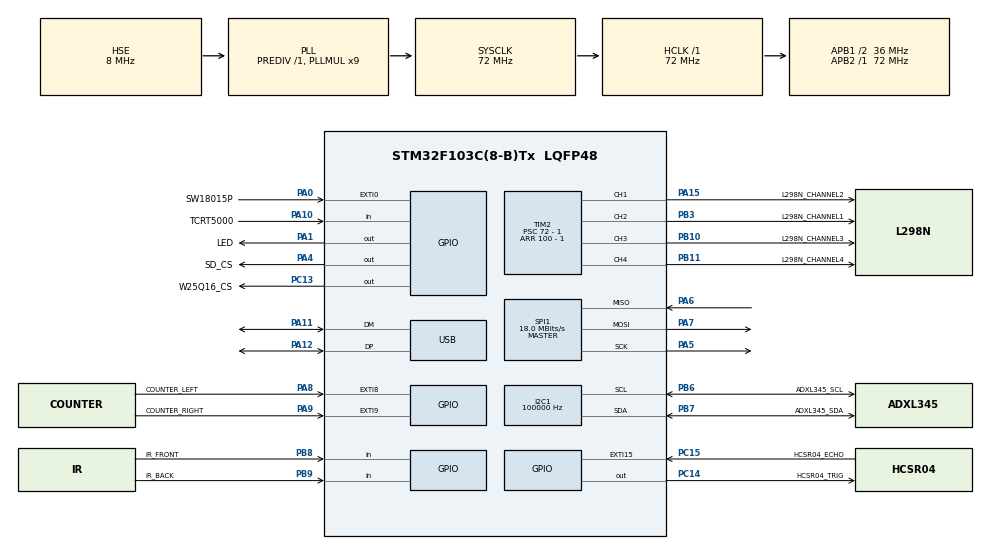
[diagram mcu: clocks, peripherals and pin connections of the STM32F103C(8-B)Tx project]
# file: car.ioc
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I2C1.ClockSpeed=100000
Mcu.Family=STM32F1
Mcu.Name=STM32F103C(8-B)Tx
Mcu.Package=LQFP48
NVIC.EXTI15_10_IRQn=true\:0\:0\:false\:false\:true\:true\:true
NVIC.EXTI9_5_IRQn=true\:0\:0\:false\:false\:true\:true\:true
NVIC.PriorityGroup=NVIC_PRIORITYGROUP_4
NVIC.USB_LP_CAN1_RX0_IRQn=true\:0\:0\:false\:false\:true\:false\:true
PA0-WKUP.GPIO_Label=SW18015P
PA0-WKUP.GPIO_ModeDefaultEXTI=GPIO_MODE_IT_FALLING
PA0-WKUP.GPIO_PuPd=GPIO_PULLUP
PA0-WKUP.Signal=GPXTI0
PA1.GPIO_Label=LED
PA1.Signal=GPIO_Output
PA10.GPIO_Label=TCRT5000
PA10.GPIO_PuPd=GPIO_PULLUP
PA10.Signal=GPIO_Input
PA11.Mode=Device
PA11.Signal=USB_DM
PA12.Mode=Device
PA12.Signal=USB_DP
PA13.Mode=Serial_Wire
PA13.Signal=SYS_JTMS-SWDIO
PA14.Mode=Serial_Wire
PA14.Signal=SYS_JTCK-SWCLK
PA15.GPIO_Label=L298N_CHANNEL2
PA15.Signal=S_TIM2_CH1_ETR
PA4.GPIO_Label=SD_CS
PA4.PinState=GPIO_PIN_SET
PA4.Signal=GPIO_Output
PA5.Mode=Full_Duplex_Master
PA5.Signal=SPI1_SCK
PA6.Mode=Full_Duplex_Master
PA6.Signal=SPI1_MISO
PA7.Mode=Full_Duplex_Master
PA7.Signal=SPI1_MOSI
PA8.GPIO_Label=COUNTER_LEFT
PA8.GPIO_ModeDefaultEXTI=GPIO_MODE_IT_RISING
PA8.GPIO_PuPd=GPIO_PULLDOWN
PA8.Signal=GPXTI8
PA9.GPIO_Label=COUNTER_RIGHT
PA9.GPIO_PuPd=GPIO_PULLDOWN
PA9.Signal=GPXTI9
PB10.GPIO_Label=L298N_CHANNEL3
PB10.Signal=S_TIM2_CH3
PB11.GPIO_Label=L298N_CHANNEL4
PB11.Signal=S_TIM2_CH4
PB3.GPIO_Label=L298N_CHANNEL1
PB3.Signal=S_TIM2_CH2
PB6.GPIO_Label=ADXL345_SCL
PB6.GPIO_Pu=GPIO_PULLUP
PB6.Mode=I2C
PB6.Signal=I2C1_SCL
PB7.GPIO_Label=ADXL345_SDA
PB7.GPIO_Pu=GPIO_PULLUP
PB7.Mode=I2C
PB7.Signal=I2C1_SDA
PB8.GPIO_Label=IR_FRONT
PB8.GPIO_PuPd=GPIO_PULLUP
PB8.Signal=GPIO_Input
PB9.GPIO_Label=IR_BACK
PB9.GPIO_PuPd=GPIO_PULLUP
PB9.Signal=GPIO_Input
PC13-TAMPER-RTC.GPIO_Label=W25Q16_CS
PC13-TAMPER-RTC.PinState=GPIO_PIN_SET
PC13-TAMPER-RTC.Signal=GPIO_Output
PC14-OSC32_IN.GPIO_Label=HCSR04_TRIG
PC14-OSC32_IN.Signal=GPIO_Output
PC15-OSC32_OUT.GPIO_Label=HCSR04_ECHO
PC15-OSC32_OUT.GPIO_ModeDefaultEXTI=GPIO_MODE_IT_RISING_FALLING
PC15-OSC32_OUT.GPIO_PuPd=GPIO_PULLDOWN
PC15-OSC32_OUT.Signal=GPXTI15
PD0-OSC_IN.Mode=HSE-External-Oscillator
PD0-OSC_IN.Signal=RCC_OSC_IN
PD1-OSC_OUT.Mode=HSE-External-Oscillator
PD1-OSC_OUT.Signal=RCC_OSC_OUT
ProjectManager.HeapSize=0x200
ProjectManager.StackSize=0x400
ProjectManager.TargetToolchain=STM32CubeIDE
RCC.AHBFreq_Value=72000000
RCC.APB1CLKDivider=RCC_HCLK_DIV2
RCC.APB1Freq_Value=36000000
RCC.APB1TimFreq_Value=72000000
RCC.APB2Freq_Value=72000000
RCC.APB2TimFreq_Value=72000000
RCC.HCLKFreq_Value=72000000
RCC.PLLMUL=RCC_PLL_MUL9
RCC.PLLSourceVirtual=RCC_PLLSOURCE_HSE
RCC.SYSCLKFreq_VALUE=72000000
RCC.SYSCLKSource=RCC_SYSCLKSOURCE_PLLCLK
RCC.USBFreq_Value=48000000
RCC.USBPrescaler=RCC_USBCLKSOURCE_PLL_DIV1_5
SH.S_TIM2_CH1_ETR.0=TIM2_CH1,PWM Generation1 CH1
SH.S_TIM2_CH2.0=TIM2_CH2,PWM Generation2 CH2
SH.S_TIM2_CH3.0=TIM2_CH3,PWM Generation3 CH3
SH.S_TIM2_CH4.0=TIM2_CH4,PWM Generation4 CH4
SPI1.BaudRatePrescaler=SPI_BAUDRATEPRESCALER_4
SPI1.CalculateBaudRate=18.0 MBits/s
SPI1.Direction=SPI_DIRECTION_2LINES
SPI1.Mode=SPI_MODE_MASTER
SPI1.VirtualType=VM_MASTER
TIM2.Channel-PWM\ Generation1\ CH1=TIM_CHANNEL_1
TIM2.Channel-PWM\ Generation2\ CH2=TIM_CHANNEL_2
TIM2.Channel-PWM\ Generation3\ CH3=TIM_CHANNEL_3
TIM2.Channel-PWM\ Generation4\ CH4=TIM_CHANNEL_4
TIM2.Period=100 - 1
TIM2.Prescaler=72 - 1
USB_DEVICE.CLASS_NAME_FS=CDC
USB_DEVICE.VirtualMode=Cdc
USB_DEVICE.VirtualModeFS=Cdc_FS
VP_USB_DEVICE_VS_USB_DEVICE_CDC_FS.Mode=CDC_FS
board=custom

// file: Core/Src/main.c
/* USER CODE BEGIN Header */
/**
  ******************************************************************************
  * @file           : main.c
  * @brief          : Main program body
  ******************************************************************************
  * @attention
  *
  * <h2><center>&copy; Copyright (c) 2019 STMicroelectronics.
  * All rights reserved.</center></h2>
  *
  * This software component is licensed by ST under BSD 3-Clause license,
  * the "License"; You may not use this file except in compliance with the
  * License. You may obtain a copy of the License at:
  *                        opensource.org/licenses/BSD-3-Clause
  *
  ******************************************************************************
  */
/* USER CODE END Header */
#include "main.h"
#include "i2c.h"
#include "spi.h"
#include "tim.h"
#include "usb_device.h"
#include "gpio.h"

/* USER CODE BEGIN Includes */
#include <math.h>

#include "usbd_cdc_if.h"

#include "util.h"
#include "log.h"
#include "hcsr04.h"
#include "adxl345.h"
#include "l298n.h"
#include "misc.h"
/* USER CODE END Includes */

/* USER CODE BEGIN PTD */
typedef struct
{
  uint32_t time;
  uint32_t distance;
} Hcsr04Record;

/* USER CODE END PTD */

/* USER CODE BEGIN PD */
#define HCSR04_MAX_RECORD   10
#define HCSR04_EXPIRE_TIME  100

#define MOTOR_LEFT 0
#define MOTOR_RIGHT 1

#define COUNTER_MIN_INTERVAL  13
#define COUNTER_SCALE (65 * M_PI / 20)
/* USER CODE END PD */

/* USER CODE BEGIN PV */
static __IO uint32_t g_timerMs = 0;
static __IO char g_run = 0;
static Hcsr04Control g_hcsr04;
static Hcsr04Record g_hcsr04_records[HCSR04_MAX_RECORD + 1];
static Hcsr04Record *g_hcsr04_record_begin = g_hcsr04_records;
static Hcsr04Record *g_hcsr04_record_end = g_hcsr04_records;
static Counter g_counter_left;
static Counter g_counter_right;
/* USER CODE END PV */

void SystemClock_Config(void);

/* USER CODE BEGIN 0 */
static uint32_t hcsr04_get_distance(Hcsr04Control *hcsr04, double l2)
{
  uint32_t now = HAL_GetTick();
  Hcsr04Record *p = NULL;
  size_t n = 0;
  double x = 0;
  double y = 0;
  double x2 = 0;
  double xy = 0;
  double det = 0;
  double w = 0;
  double b = 0;

  while (
    (g_hcsr04_record_begin->time + HCSR04_EXPIRE_TIME < now)
    && (g_hcsr04_record_begin != g_hcsr04_record_end)
  )
  {
    circular_inc(g_hcsr04_records, ARRAYSIZE(g_hcsr04_records), g_hcsr04_record_begin);
  }

  if (circular_size(
    g_hcsr04_record_begin,
    g_hcsr04_record_end,
    ARRAYSIZE(g_hcsr04_records)
  ) == 0)
  {
    return HCSR04_INVALID_DISTANCE;
  }

  /* 线性回归求当前距离，迭代求解 */
  for (
    p = g_hcsr04_record_begin, n = 1, x = 0, y = 0, x2 = 0, xy = 0;
    p != g_hcsr04_record_end;
    circular_inc(g_hcsr04_records, ARRAYSIZE(g_hcsr04_records), p), ++n
  )
  {
    double a = 1.0 / n;
    x = (1 - a) * x + a * p->time;
    y = (1 - a) * y + a * p->distance;
    x2 = (1 - a) * x2 + a * p->time * p->time;
    xy = (1 - a) * xy + a * p->time * p->distance;
  }

  det = (x2 + l2) * (1 + l2) - x * x;
  /* TODO: 判断实数不为零 */
  if (det != 0)
  {
    /* 矩阵满秩，线性方程有特解 */
    w = (xy * (1 + l2) - x * y) / det;
    b = (y - w * x) / (1 + l2);
  }
  else
  {
    /* 方程有无穷多解，退化为求均值 */
    w = 0;
    b = y / (1 + l2);
  }

  return (uint32_t)(w * now + b);
}
/* USER CODE END 0 */

int main(void)
{
  /* USER CODE BEGIN 1 */
  HAL_StatusTypeDef status = HAL_OK;
  Adxl345I2cControl adxl345_i2c;
  Adxl345Control *padxl345 = (Adxl345Control *)&adxl345_i2c;
  L298nControl l298n_left;
  L298nControl l298n_right;

  uint32_t time = 0;
  uint32_t ir_front = 0;
  uint32_t distance = 0;
  int32_t x = 0;
  int32_t y = 0;
  int32_t z = 0;
  uint32_t left_count = 0;
  uint32_t right_count = 0;
  int32_t left_dist = 0;
  int32_t right_dist = 0;
  int32_t left_speed = 0;
  int32_t right_speed = 0;
  int32_t left_acc = 0;
  int32_t right_acc = 0;
  int dir = 0;
  int old_dir = 0;
  int32_t left_pulse = 0;
  int32_t right_pulse = 0;
  double speed = 0;
  double acc = 0;
  /* USER CODE END 1 */

  /* MCU Configuration--------------------------------------------------------*/

  /* Reset of all peripherals, Initializes the Flash interface and the Systick. */
  HAL_Init();

  /* USER CODE BEGIN Init */
  counter_init(&g_counter_left, COUNTER_MIN_INTERVAL);
  counter_init(&g_counter_right, COUNTER_MIN_INTERVAL);
  /* USER CODE END Init */

  /* Configure the system clock */
  SystemClock_Config();

  /* Initialize all configured peripherals */
  MX_GPIO_Init();
  MX_TIM2_Init();
  MX_I2C1_Init();
  MX_SPI1_Init();
  MX_USB_DEVICE_Init();
  /* USER CODE BEGIN 2 */
  g_run = 1;
  hcsr04_init(
    &g_hcsr04,
    HCSR04_TRIG_GPIO_Port,
    HCSR04_TRIG_Pin,
    HCSR04_ECHO_GPIO_Port,
    HCSR04_ECHO_Pin,
    0
  );
  adxl345_i2c_init(&adxl345_i2c, &hi2c1, ADXL345_ALT_ADDR, 10);
  status = adxl345_init(padxl345);
  status = l298n_init(&l298n_left, &htim2, TIM_CHANNEL_2, TIM_CHANNEL_1);
  status = l298n_init(&l298n_right, &htim2, TIM_CHANNEL_3, TIM_CHANNEL_4);
  status = l298n_start(&l298n_left);
  status = l298n_start(&l298n_right);
  /* USER CODE END 2 */

  /* Infinite loop */
  while (1)
  {

    /* USER CODE BEGIN 3 */
    uint32_t max_speed = l298n_get_max_speed(&l298n_left);
    ir_front = (HAL_GPIO_ReadPin(IR_FRONT_GPIO_Port, IR_FRONT_Pin) == GPIO_PIN_RESET);
    status = hcsr04_trigger(&g_hcsr04);
    distance = hcsr04_get_distance(&g_hcsr04, 0);
    status = adxl345_get_acc(padxl345, &x, &y, &z);
    counter_get_state(&g_counter_left, &time, &left_count, &left_dist, &left_speed, &left_acc);
    counter_get_state(&g_counter_right, &time, &right_count, &right_dist, &right_speed, &right_acc);

    if ((HCSR04_INVALID_DISTANCE == distance) || (distance > 2000))
    {
      l298n_stop(&l298n_left);
      l298n_stop(&l298n_right);
    }
    else
    {
      double d = 200.0 - distance;
      double sl = ((dir >= 0) ? left_dist : -left_dist) * COUNTER_SCALE;
      double sr = ((dir >= 0) ? right_dist : -right_dist) * COUNTER_SCALE;
      double s = (sl + sr) / 2;
      double vl = ((dir >= 0) ? left_speed : -left_speed) * COUNTER_SCALE;
      double vr = ((dir >= 0) ? right_speed : -right_speed) * COUNTER_SCALE;
      double v = (vl + vr) / 2;
      double al = ((dir >= 0) ? left_acc : -left_acc) * COUNTER_SCALE / 1000;
      double ar = ((dir >= 0) ? right_acc : -right_acc) * COUNTER_SCALE / 1000;
      double dsl = sl - s;
      double dsr = sr - s;
      double dvl = vl - v;
      double dvr = vr - v;

      double dest_a = MIN(MAX(-(d + v), -10), 10);
      double dest_al = dest_a - (dsl + dvl);
      double dest_ar = dest_a - (dsr + dvr);

      old_dir = dir;
      if (dest_a >= 0)
      {
        dir = 1;
        dest_al = MAX(dest_al, 0);
        dest_ar = MAX(dest_ar, 0);
      }
      else
      {
        dir = -1;
        dest_al = MIN(dest_al, 0);
        dest_ar = MIN(dest_ar, 0);
      }

      if (dir != old_dir)
      {
        /* 转向 */
        left_pulse = 0;
        right_pulse = 0;
        l298n_stop(&l298n_left);
        l298n_stop(&l298n_right);
        counter_reset(&g_counter_left);
        counter_reset(&g_counter_right);
      }
      else
      {
        if (al < dest_al)
        {
          left_pulse = MIN(left_pulse + 1, max_speed);
        }
        else if (al > dest_al)
        {
          left_pulse = MAX(left_pulse - 1, -max_speed);
        }

        if (ar < dest_ar)
        {
          right_pulse = MIN(right_pulse + 1, max_speed);
        }
        else if (ar > dest_ar)
        {
          right_pulse = MAX(right_pulse - 1, -max_speed);
        }
      }

      log_debug(
        "d = %f, sl = %f, sr = %f, vl = %f, vr = %f, al = %f, ar = %f, dest_al = %f, dest_ar = %f, left_pulse = %d, right_pulse = %d",
        d,
        sl,
        sr,
        vl,
        vr,
        al,
        ar,
        dest_al,
        dest_ar,
        left_pulse,
        right_pulse
      );
    }

    HAL_GPIO_WritePin(LED_GPIO_Port, LED_Pin, ((left_pulse != 0) || (right_pulse != 0)) ? GPIO_PIN_RESET : GPIO_PIN_SET);
    l298n_set_speed(&l298n_left, left_pulse);
    l298n_set_speed(&l298n_right, right_pulse);
    if (l298n_get_state(&l298n_left) == L298N_STOP)
    {
      l298n_start(&l298n_left);
    }
    if (l298n_get_state(&l298n_right) == L298N_STOP)
    {
      l298n_start(&l298n_right);
    }

    HAL_Delay(10);
  }
  /* USER CODE END 3 */
}

void SystemClock_Config(void)
{
  RCC_OscInitTypeDef RCC_OscInitStruct = {0};
  RCC_ClkInitTypeDef RCC_ClkInitStruct = {0};
  RCC_PeriphCLKInitTypeDef PeriphClkInit = {0};

  /** Initializes the RCC Oscillators according to the specified parameters
  * in the RCC_OscInitTypeDef structure.
  */
  RCC_OscInitStruct.OscillatorType = RCC_OSCILLATORTYPE_HSE;
  RCC_OscInitStruct.HSEState = RCC_HSE_ON;
  RCC_OscInitStruct.HSEPredivValue = RCC_HSE_PREDIV_DIV1;
  RCC_OscInitStruct.HSIState = RCC_HSI_ON;
  RCC_OscInitStruct.PLL.PLLState = RCC_PLL_ON;
  RCC_OscInitStruct.PLL.PLLSource = RCC_PLLSOURCE_HSE;
  RCC_OscInitStruct.PLL.PLLMUL = RCC_PLL_MUL9;
  if (HAL_RCC_OscConfig(&RCC_OscInitStruct) != HAL_OK)
  {
    Error_Handler();
  }
  /** Initializes the CPU, AHB and APB buses clocks
  */
  RCC_ClkInitStruct.ClockType = RCC_CLOCKTYPE_HCLK|RCC_CLOCKTYPE_SYSCLK
                              |RCC_CLOCKTYPE_PCLK1|RCC_CLOCKTYPE_PCLK2;
  RCC_ClkInitStruct.SYSCLKSource = RCC_SYSCLKSOURCE_PLLCLK;
  RCC_ClkInitStruct.AHBCLKDivider = RCC_SYSCLK_DIV1;
  RCC_ClkInitStruct.APB1CLKDivider = RCC_HCLK_DIV2;
  RCC_ClkInitStruct.APB2CLKDivider = RCC_HCLK_DIV1;

  if (HAL_RCC_ClockConfig(&RCC_ClkInitStruct, FLASH_LATENCY_2) != HAL_OK)
  {
    Error_Handler();
  }
  PeriphClkInit.PeriphClockSelection = RCC_PERIPHCLK_USB;
  PeriphClkInit.UsbClockSelection = RCC_USBCLKSOURCE_PLL_DIV1_5;
  if (HAL_RCCEx_PeriphCLKConfig(&PeriphClkInit) != HAL_OK)
  {
    Error_Handler();
  }
}

/* USER CODE BEGIN 4 */
void HAL_GPIO_EXTI_Callback(uint16_t GPIO_Pin)
{
  switch (GPIO_Pin)
  {
  case SW18015P_Pin:
    break;

  case HCSR04_ECHO_Pin:
    if (GPIO_PIN_RESET == HAL_GPIO_ReadPin(g_hcsr04.echo_port, g_hcsr04.echo_pin))
    {
      uint32_t dist = HCSR04_INVALID_DISTANCE;
      log_assert(HCSR04_ECHO_BEGIN == g_hcsr04.state);
      hcsr04_echo_end(&g_hcsr04);

      if ((dist = hcsr04_read_nowait(&g_hcsr04)) != HCSR04_INVALID_DISTANCE)
      {
        g_hcsr04_record_end->time = g_hcsr04.echo_end_ms;
        g_hcsr04_record_end->distance = dist;
        circular_push(
          g_hcsr04_records,
          ARRAYSIZE(g_hcsr04_records),
          g_hcsr04_record_begin,
          g_hcsr04_record_end
        );
      }
    }
    else {
      hcsr04_echo_begin(&g_hcsr04);
    }
    break;

  case COUNTER_LEFT_Pin:
    counter_inc(&g_counter_left);
    break;

  case COUNTER_RIGHT_Pin:
    counter_inc(&g_counter_right);
    break;

  default:
    break;
  }
}

size_t _log_write(const void *buf, size_t len)
{
  static const size_t max_retry = 0;

  uint8_t status = CDC_Transmit_FS((uint8_t *)buf, (uint16_t)len);
  for (size_t i = 1; (status != USBD_OK) && (i < max_retry); ++i)
  {
    HAL_Delay(20);
    status = CDC_Transmit_FS((uint8_t *)buf, (uint16_t)len);
  }

  return (USBD_OK == status) ? len : 0;
}

void _log_abort(void)
{
  log_error("system panic! please reset");
  while (1);
}

/* USER CODE END 4 */

void Error_Handler(void)
{
}

/************************ (C) COPYRIGHT STMicroelectronics *****END OF FILE****/
